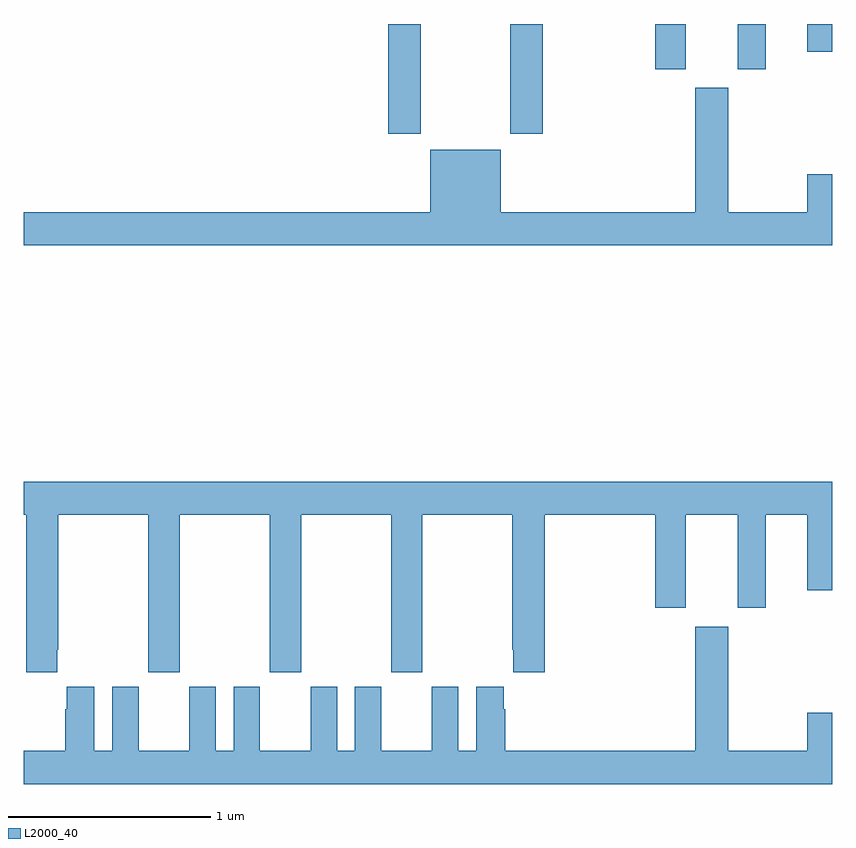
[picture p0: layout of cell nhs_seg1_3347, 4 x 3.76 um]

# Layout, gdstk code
import gdstk
lib = gdstk.Library(unit=1e-6, precision=1e-09)
def R(c, l, rs):  # rectangles x0, y0, x1, y1
    for r in rs: c.add(gdstk.rectangle(r[:2], r[2:], *l))
def P(c, l, *ps):  # polygons
    for p in ps: c.add(gdstk.Polygon(p, *l))
L2000_40 = (2000, 40)

nhs_seg1_3347 = lib.new_cell('nhs_seg1_3347')
R(nhs_seg1_3347, L2000_40, [(294.803,513.657,294.963,514.199), (295.408,513.657,295.568,514.199), (296.123,513.975,296.275,514.199), (296.531,513.975,296.671,514.199), (296.876,514.062,297,514.199)])
P(nhs_seg1_3347, L2000_40, [(297,513.457),(296.876,513.457),(296.876,513.268),(296.485,513.268),(296.485,513.883),(296.321,513.883),(296.321,513.268),(295.36,513.268),(295.36,513.577),(295.01,513.577),(295.01,513.268),(293,513.268),(293,513.104),(297,513.104)],
  [(293,511.772),(293.012,511.772),(293.012,510.993),(293.167,510.993),(293.167,511.105),(293.172,511.105),(293.172,511.772),(293.617,511.772),(293.617,510.993),(293.772,510.993),(293.772,511.772),(294.217,511.772),(294.217,510.993),(294.372,510.993),(294.372,511.772),(294.817,511.772),(294.817,510.993),(294.972,510.993),(294.972,511.772),(295.417,511.772),(295.417,511.105),(295.421,511.105),(295.421,510.993),(295.577,510.993),(295.577,511.772),(296.123,511.772),(296.123,511.311),(296.275,511.311),(296.275,511.772),(296.531,511.772),(296.531,511.311),(296.671,511.311),(296.671,511.772),(296.876,511.772),(296.876,511.398),(297,511.398),(297,511.936),(293,511.936)],
  [(297,510.793),(296.876,510.793),(296.876,510.604),(296.485,510.604),(296.485,511.219),(296.321,511.219),(296.321,510.604),(295.382,510.604),(295.382,510.809),(295.375,510.809),(295.375,510.922),(295.238,510.922),(295.238,510.604),(295.15,510.604),(295.15,510.922),(295.019,510.922),(295.019,510.604),(294.769,510.604),(294.769,510.922),(294.638,510.922),(294.638,510.604),(294.55,510.604),(294.55,510.922),(294.419,510.922),(294.419,510.604),(294.169,510.604),(294.169,510.922),(294.038,510.922),(294.038,510.604),(293.95,510.604),(293.95,510.922),(293.819,510.922),(293.819,510.604),(293.569,510.604),(293.569,510.922),(293.438,510.922),(293.438,510.604),(293.35,510.604),(293.35,510.922),(293.213,510.922),(293.213,510.809),(293.207,510.809),(293.207,510.604),(293,510.604),(293,510.44),(297,510.44)])

lib.write_gds('nhs_seg1_3347.gds')
